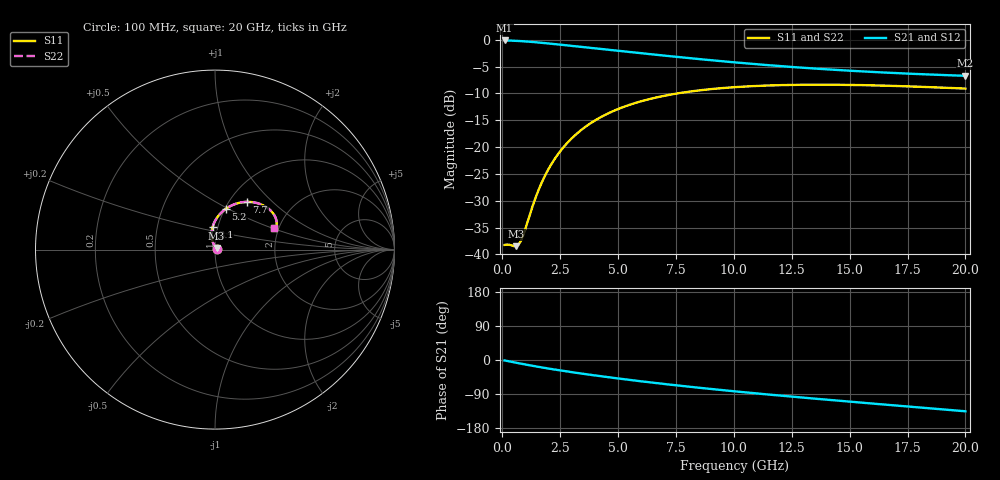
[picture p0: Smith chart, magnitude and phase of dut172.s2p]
! Touchstone file exported from HFSS 2023.1.0
!  File:  D:/Users/fzz/RDL_TSV/temp_RDL_TSV_172_1778754436.aedt
!  Generated:  6:39:03 %x4E0B%x5348  5%x6708 14, 2026
!  Design:  RDL_TSV
!  Project:  temp_RDL_TSV_172_1778754436
!  Setup:  Setup1
!  Solution:  Sweep
! Variables:
!  dtsv = 10.68um
!  hbump = 3um
!  htsv = 56.4um
!  ldown = 296.71um
!  lrdl = 239.18um
!  p = 40
!  p1 = 47.49um
!  rhole = 10um
!  subl = 1846.85um
!  t = 450um
!  tdown = 4.05um
!  trdl = 3.54um
!  viad = 10um
!  wdown = 19.6um
!  wrdl = 12.38um
!  xbump = 18um
# GHz S MA R 50.000000
! Terminal data exported
! Port[1] = TM1_1_T1
! Port[2] = TM1_4_T1
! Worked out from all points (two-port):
!   200 points, 100 MHz to 20 GHz, reference 50 ohm
!   highest |S21| = -0.11 dB at 100 MHz (marker M1); lowest = -6.7 dB at 20 GHz (marker M2)
!   |S21| within 3 dB of the highest: start of sweep to 7.388 GHz
!   lowest |S11| = -38.5 dB at 600 MHz (marker M3), VSWR 1.02, Z = 50.8 + j0.861 ohm
!   |S11| at or under -10 dB: start of sweep to 7.545 GHz
!   |S22| runs from -38.5 to -8.4 dB; largest |S21 - S12| = 1e-14
!   S11 on the Smith chart (normalised r, x): 100 MHz: 1.02, +0.00; 3.1 GHz: 0.94, +0.24; 5.2 GHz: 1.01, +0.49; 7.7 GHz: 1.20, +0.71; 20 GHz: 1.90, +0.51
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0.1  0.01224 7.0  0.9875 -1.2  0.9875 -1.2  0.01224 7.0
! Gamma 0 0 0 0
! Port Impedance 50 0 50 0
0.6  0.01192 45.3  0.9793 -7.3  0.9793 -7.3  0.01192 45.3
0.7  0.0123 56.6  0.9767 -8.5  0.9767 -8.5  0.0123 56.6
0.8  0.01329 68.1  0.9739 -9.6  0.9739 -9.6  0.01329 68.1
0.9  0.01499 78.5  0.9708 -10.8  0.9708 -10.8  0.01499 78.5
1.4  0.03208 103.9  0.9523 -16.4  0.9523 -16.4  0.03209 103.9
1.6  0.04149 106.2  0.9438 -18.5  0.9438 -18.5  0.0415 106.2
1.9  0.05714 106.5  0.9303 -21.6  0.9303 -21.6  0.05715 106.5
2.1  0.06825 105.5  0.9211 -23.6  0.9211 -23.6  0.06827 105.5
2.4  0.08553 103.2  0.907 -26.5  0.907 -26.5  0.08556 103.2
2.7  0.1032 100.3  0.893 -29.3  0.893 -29.3  0.1032 100.3
3.1  0.1266 96.1  0.8743 -33.0  0.8743 -33.0  0.1267 96.1
3.5  0.1496 91.8  0.856 -36.5  0.856 -36.5  0.1496 91.8
4.3  0.1927 83.5  0.8205 -43.1  0.8205 -43.1  0.1928 83.5
5.2  0.2354 75.0  0.7825 -50.3  0.7825 -50.3  0.2355 75.0
6.8  0.2951 62.2  0.7202 -62.0  0.7202 -62.0  0.2951 62.2
7.7  0.3202 56.2  0.6883 -68.1  0.6883 -68.1  0.3202 56.2
10.1  0.3631 43.1  0.6152 -83.1  0.6152 -83.1  0.3631 43.1
11.7  0.3768 36.4  0.576 -92.3  0.576 -92.3  0.3768 36.4
13.4  0.3819 30.7  0.5418 -101.5  0.5418 -101.5  0.3819 30.7
16.7  0.3732 23.0  0.4934 -118.6  0.4934 -118.6  0.3732 23.0
20  0.3515 19.5  0.4624 -135.3  0.4624 -135.3  0.3514 19.6
